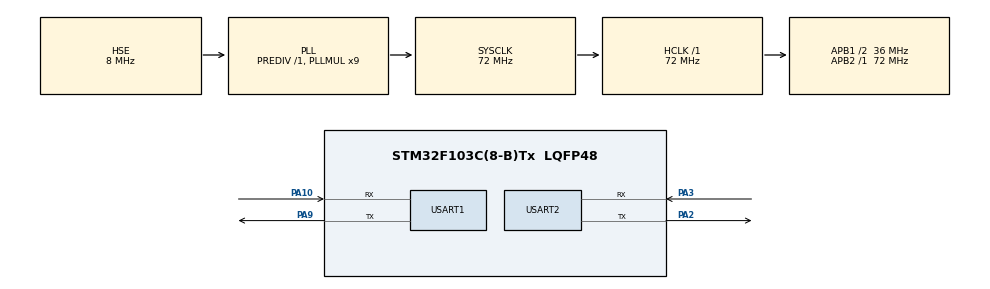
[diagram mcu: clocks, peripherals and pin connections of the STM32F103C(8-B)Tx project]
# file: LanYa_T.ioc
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Dma.Request0=USART1_TX
Dma.Request1=USART1_RX
Dma.Request2=USART2_TX
Dma.USART1_RX.1.Direction=DMA_PERIPH_TO_MEMORY
Dma.USART1_RX.1.Instance=DMA1_Channel5
Dma.USART1_RX.1.MemDataAlignment=DMA_MDATAALIGN_BYTE
Dma.USART1_RX.1.MemInc=DMA_MINC_ENABLE
Dma.USART1_RX.1.Mode=DMA_CIRCULAR
Dma.USART1_RX.1.PeriphDataAlignment=DMA_PDATAALIGN_BYTE
Dma.USART1_RX.1.PeriphInc=DMA_PINC_DISABLE
Dma.USART1_RX.1.Priority=DMA_PRIORITY_HIGH
Dma.USART1_TX.0.Direction=DMA_MEMORY_TO_PERIPH
Dma.USART1_TX.0.Instance=DMA1_Channel4
Dma.USART1_TX.0.MemDataAlignment=DMA_MDATAALIGN_BYTE
Dma.USART1_TX.0.MemInc=DMA_MINC_ENABLE
Dma.USART1_TX.0.Mode=DMA_NORMAL
Dma.USART1_TX.0.PeriphDataAlignment=DMA_PDATAALIGN_BYTE
Dma.USART1_TX.0.PeriphInc=DMA_PINC_DISABLE
Dma.USART1_TX.0.Priority=DMA_PRIORITY_HIGH
Dma.USART2_TX.2.Direction=DMA_MEMORY_TO_PERIPH
Dma.USART2_TX.2.Instance=DMA1_Channel7
Dma.USART2_TX.2.MemDataAlignment=DMA_MDATAALIGN_BYTE
Dma.USART2_TX.2.MemInc=DMA_MINC_ENABLE
Dma.USART2_TX.2.Mode=DMA_NORMAL
Dma.USART2_TX.2.PeriphDataAlignment=DMA_PDATAALIGN_BYTE
Dma.USART2_TX.2.PeriphInc=DMA_PINC_DISABLE
Dma.USART2_TX.2.Priority=DMA_PRIORITY_HIGH
Mcu.Family=STM32F1
Mcu.Name=STM32F103C(8-B)Tx
Mcu.Package=LQFP48
NVIC.DMA1_Channel4_IRQn=true\:0\:0\:false\:false\:true\:false\:true\:true
NVIC.DMA1_Channel5_IRQn=true\:0\:0\:false\:false\:true\:false\:true\:true
NVIC.DMA1_Channel7_IRQn=true\:0\:0\:false\:false\:true\:false\:true\:true
NVIC.PriorityGroup=NVIC_PRIORITYGROUP_4
NVIC.TIM1_UP_IRQn=true\:0\:0\:false\:false\:true\:true\:true\:true
NVIC.USART1_IRQn=true\:0\:0\:false\:false\:true\:true\:true\:true
NVIC.USART2_IRQn=true\:0\:0\:false\:false\:true\:true\:true\:true
PA10.Mode=Asynchronous
PA10.Signal=USART1_RX
PA13.Mode=Serial_Wire
PA13.Signal=SYS_JTMS-SWDIO
PA14.Mode=Serial_Wire
PA14.Signal=SYS_JTCK-SWCLK
PA2.Mode=Asynchronous
PA2.Signal=USART2_TX
PA3.Mode=Asynchronous
PA3.Signal=USART2_RX
PA9.Mode=Asynchronous
PA9.Signal=USART1_TX
PD0-OSC_IN.Mode=HSE-External-Oscillator
PD0-OSC_IN.Signal=RCC_OSC_IN
PD1-OSC_OUT.Mode=HSE-External-Oscillator
PD1-OSC_OUT.Signal=RCC_OSC_OUT
ProjectManager.HeapSize=0x200
ProjectManager.StackSize=0x400
ProjectManager.TargetToolchain=MDK-ARM V5.32
RCC.AHBFreq_Value=72000000
RCC.APB1CLKDivider=RCC_HCLK_DIV2
RCC.APB1Freq_Value=36000000
RCC.APB1TimFreq_Value=72000000
RCC.APB2Freq_Value=72000000
RCC.APB2TimFreq_Value=72000000
RCC.HCLKFreq_Value=72000000
RCC.PLLMUL=RCC_PLL_MUL9
RCC.PLLSourceVirtual=RCC_PLLSOURCE_HSE
RCC.SYSCLKFreq_VALUE=72000000
RCC.SYSCLKSource=RCC_SYSCLKSOURCE_PLLCLK
RCC.USBFreq_Value=72000000
TIM1.AutoReloadPreload=TIM_AUTORELOAD_PRELOAD_ENABLE
TIM1.Period=329
TIM1.Prescaler=7200-1
USART1.VirtualMode=VM_ASYNC
USART2.VirtualMode=VM_ASYNC
VP_TIM1_VS_ClockSourceINT.Mode=Internal
board=custom

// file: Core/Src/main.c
/* USER CODE BEGIN Header */
/**
  ******************************************************************************
  * @file           : main.c
  * @brief          : Main program body
  ******************************************************************************
  * @attention
  *
  * Copyright (c) 2026 STMicroelectronics.
  * All rights reserved.
  *
  * This software is licensed under terms that can be found in the LICENSE file
  * in the root directory of this software component.
  * If no LICENSE file comes with this software, it is provided AS-IS.
  *
  ******************************************************************************
  */
/* USER CODE END Header */
#include "main.h"
#include "dma.h"
#include "tim.h"
#include "usart.h"
#include "gpio.h"

/* USER CODE BEGIN Includes */
#include "stdio.h"
#include "bluetooth.h"
/* USER CODE END Includes */

/* USER CODE BEGIN PV */
struct_frame Frame;
uint8_t Buffer[FRAME_LENGTH];
uint8_t rxBuffer[FRAME_LENGTH];
int flag = 0;
int stage = 0;
uint32_t starttime = 0;
uint32_t endtime = 0;
uint32_t time = 0;
uint8_t outcome[4];
/* USER CODE END PV */

void SystemClock_Config(void);

int main(void)
{

  /* MCU Configuration--------------------------------------------------------*/

  /* Reset of all peripherals, Initializes the Flash interface and the Systick. */
  HAL_Init();

  /* Configure the system clock */
  SystemClock_Config();

  /* Initialize all configured peripherals */
  MX_GPIO_Init();
  MX_DMA_Init();
  MX_TIM1_Init();
  MX_USART1_UART_Init();
  MX_USART2_UART_Init();
  /* USER CODE BEGIN 2 */
	HAL_TIM_Base_Init(&htim1);
	HAL_TIM_Base_Start_IT(&htim1);
	HAL_UART_Receive_DMA(&huart1, rxBuffer, 14);
  /* USER CODE END 2 */

  /* Infinite loop */
  /* USER CODE BEGIN WHILE */
  while (1)
  {
		if (stage == 3) {
			time = (endtime - starttime) / 2;
			outcome[0] = time >> 24;
			outcome[1] = time >> 16;
			outcome[2] = time >> 8;
			outcome[3] = time;
			HAL_UART_Transmit_DMA(&huart2, outcome, 4);
			stage = 4;
		}
    /* USER CODE END WHILE */

  }
}

void SystemClock_Config(void)
{
  RCC_OscInitTypeDef RCC_OscInitStruct = {0};
  RCC_ClkInitTypeDef RCC_ClkInitStruct = {0};

  /** Initializes the RCC Oscillators according to the specified parameters
  * in the RCC_OscInitTypeDef structure.
  */
  RCC_OscInitStruct.OscillatorType = RCC_OSCILLATORTYPE_HSE;
  RCC_OscInitStruct.HSEState = RCC_HSE_ON;
  RCC_OscInitStruct.HSEPredivValue = RCC_HSE_PREDIV_DIV1;
  RCC_OscInitStruct.HSIState = RCC_HSI_ON;
  RCC_OscInitStruct.PLL.PLLState = RCC_PLL_ON;
  RCC_OscInitStruct.PLL.PLLSource = RCC_PLLSOURCE_HSE;
  RCC_OscInitStruct.PLL.PLLMUL = RCC_PLL_MUL9;
  if (HAL_RCC_OscConfig(&RCC_OscInitStruct) != HAL_OK)
  {
    Error_Handler();
  }

  /** Initializes the CPU, AHB and APB buses clocks
  */
  RCC_ClkInitStruct.ClockType = RCC_CLOCKTYPE_HCLK|RCC_CLOCKTYPE_SYSCLK
                              |RCC_CLOCKTYPE_PCLK1|RCC_CLOCKTYPE_PCLK2;
  RCC_ClkInitStruct.SYSCLKSource = RCC_SYSCLKSOURCE_PLLCLK;
  RCC_ClkInitStruct.AHBCLKDivider = RCC_SYSCLK_DIV1;
  RCC_ClkInitStruct.APB1CLKDivider = RCC_HCLK_DIV2;
  RCC_ClkInitStruct.APB2CLKDivider = RCC_HCLK_DIV1;

  if (HAL_RCC_ClockConfig(&RCC_ClkInitStruct, FLASH_LATENCY_2) != HAL_OK)
  {
    Error_Handler();
  }
}

/* USER CODE BEGIN 4 */
void HAL_TIM_PeriodElapsedCallback(TIM_HandleTypeDef *htim){
	if (htim->Instance == TIM1){
		Frame.header = FRAME_HEADER;
		Frame.tail = FRAME_TAIL;
		for(uint8_t i = 0; i < 12; i++){
			Frame.data[i] = 0;
		}
		memcpy(Buffer, &Frame, FRAME_LENGTH);
		if (!(HAL_UART_GetState(&huart1) == HAL_UART_STATE_BUSY_TX)){
			if (flag == 0) {
				flag = 1;
				stage = 1;
				starttime = HAL_GetTick();
			}
			HAL_UART_Transmit_DMA(&huart1, (const uint8_t*)&Buffer, FRAME_LENGTH);
		}
	}
}
void HAL_UART_RxCpltCallback(UART_HandleTypeDef *huart){
	if (rxBuffer[0] == FRAME_HEADER && rxBuffer[13] == FRAME_TAIL){
		if (stage == 1) {
			endtime = HAL_GetTick();
			stage = 3;
		}
	}
}
/* USER CODE END 4 */

void Error_Handler(void)
{
  __disable_irq();
  while (1)
  {
  }
}
